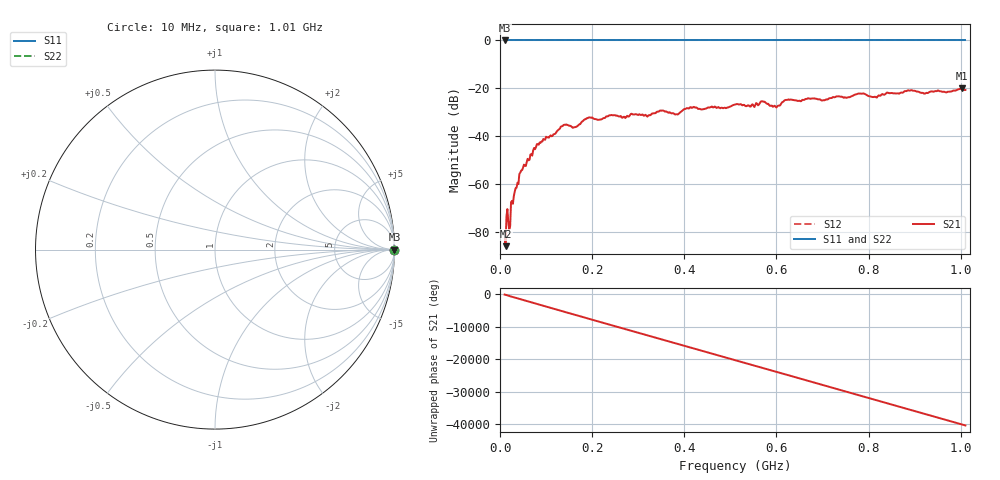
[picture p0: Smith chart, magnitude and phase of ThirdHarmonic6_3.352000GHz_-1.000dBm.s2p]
! 8/17/2025 10:35:06 AM
! C:\ANRITSUVNA\TEMP\TEMP.S2P
! CHANNEL.1
! TR.MEASUREMENT
! RAW.DATA
! RF.CORRECTION.OFF
! AVERAGING.OFF
! IF.BANDWIDTH: 5KHZ
! SWEEPTYPE:  FREQ.SWEEP(Linear)
! Reference Plane Port Info
! PORT:  PORT1  PORT2
! DISTANCE:  0  m  0  m
! TIME:  0  s  0  s
! PHASE.OFFSET:  0  deg.  0  deg.
! LOSS:  0  dB  0  dB
! REF.LOSS:  0  dB  0  dB
! REF.FREQ:  0  Hz  0  Hz
! Power Info
! POWER:  -20  dBm  -20  dBm
! EFF.POWER:  -20  dBm  -20  dBm
! SOURCE.ATTEN:  0  dB  0  dB
! TEST.ATTEN:  0  dB  0  dB
# GHZ S RI R 50.0
! FREQ.GHZ  S11RE  S11IM  S21RE  S21IM  S12RE  S12IM  S22RE  S22IM
!; PortSelection: Port_12
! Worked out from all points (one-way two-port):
!   501 points, 10 MHz to 1.01 GHz, reference 50 ohm
!   highest |S21| = -19.95 dB at 1.002 GHz (marker M1); lowest = -85.8 dB at 12 MHz (marker M2)
!   lowest |S11| = 0.0 dB at 10 MHz (marker M3)
!   |S11| at or under -10 dB: nowhere
!   |S22| runs from 0.0 to 0.0 dB; largest |S21 - S12| = 1.1
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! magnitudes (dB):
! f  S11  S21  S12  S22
! 10 MHz  0.0  -79.8  0.0  0.0
! 12 MHz  0.0  -85.8  0.0  0.0
! 22 MHz  0.0  -77.5  0.0  0.0
! 28 MHz  0.0  -68.2  0.0  0.0
! 46 MHz  0.0  -54.3  0.0  0.0
! 78 MHz  0.0  -44.6  0.0  0.0
! 136 MHz  0.0  -35.7  0.0  0.0
! 162 MHz  0.0  -36.2  0.0  0.0
! 178 MHz  0.0  -33.9  0.0  0.0
! 192 MHz  0.0  -32.2  0.0  0.0
! 322 MHz  0.0  -31.3  0.0  0.0
! 344 MHz  0.0  -29.7  0.0  0.0
! 384 MHz  0.0  -30.8  0.0  0.0
! 416 MHz  0.0  -28.2  0.0  0.0
! 510 MHz  0.0  -26.7  0.0  0.0
! 570 MHz  0.0  -25.4  0.0  0.0
! 596 MHz  0.0  -27.2  0.0  0.0
! 622 MHz  0.0  -24.8  0.0  0.0
! 678 MHz  0.0  -24.2  0.0  0.0
! 844 MHz  0.0  -22.0  0.0  0.0
! 1.002 GHz  0.0  -20.0  0.0  0.0
! 1.01 GHz  0.0  -20.7  0.0  0.0
